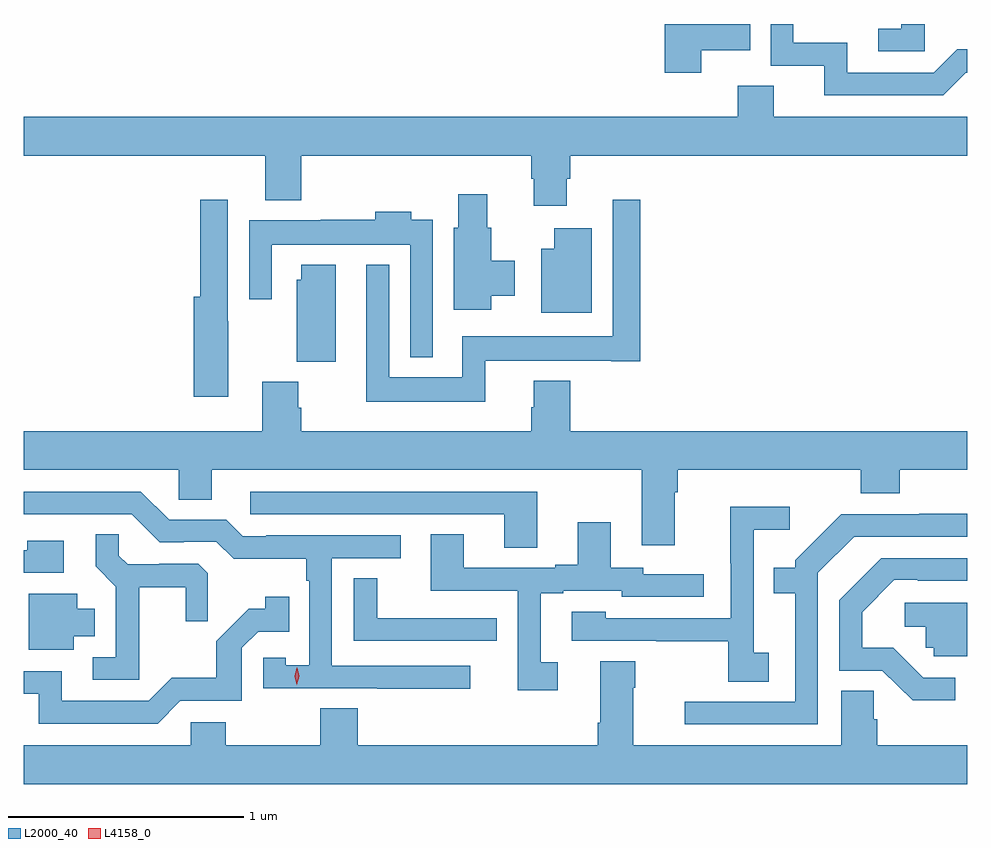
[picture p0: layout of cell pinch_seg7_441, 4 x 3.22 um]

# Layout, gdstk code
import gdstk
lib = gdstk.Library(unit=1e-6, precision=1e-09)
def P(c, l, *ps):  # polygons
    for p in ps: c.add(gdstk.Polygon(p, *l))
L2000_40 = (2000, 40)
L4158_0 = (4158, 0)

pinch_seg7_441 = lib.new_cell('pinch_seg7_441')
P(pinch_seg7_441, L2000_40, [(302.537,1057.118),(302.439,1057.118),(302.439,1057.098),(302.34,1057.098),(302.34,1057.002),(302.537,1057.002)],
  [(302.712,1056.912),(302.718,1056.912),(302.718,1057.011),(302.676,1057.011),(302.577,1056.912),(302.209,1056.912),(302.209,1057.038),(301.98,1057.038),(301.98,1057.118),(301.884,1057.118),(301.884,1056.942),(302.111,1056.942),(302.111,1056.816),(302.616,1056.816)],
  [(301.59,1057.007),(301.799,1057.007),(301.799,1057.118),(301.436,1057.118),(301.436,1056.912),(301.59,1056.912)],
  [(301.021,1056.462),(301.034,1056.462),(301.034,1056.56),(302.718,1056.56),(302.718,1056.724),(301.897,1056.724),(301.897,1056.857),(301.745,1056.857),(301.745,1056.724),(298.718,1056.724),(298.718,1056.56),(299.741,1056.56),(299.741,1056.371),(299.894,1056.371),(299.894,1056.56),(300.869,1056.56),(300.869,1056.462),(300.881,1056.462),(300.881,1056.348),(301.021,1056.348)],
  [(300.7,1055.966),(300.799,1055.966),(300.799,1056.114),(300.7,1056.114),(300.7,1056.255),(300.682,1056.255),(300.682,1056.397),(300.56,1056.397),(300.56,1056.255),(300.542,1056.255),(300.542,1055.907),(300.7,1055.907)],
  [(299.584,1055.858),(299.583,1055.858),(299.583,1056.373),(299.467,1056.373),(299.467,1055.962),(299.438,1055.962),(299.438,1055.538),(299.584,1055.538)],
  [(300.674,1055.69),(301.208,1055.69),(301.208,1055.688),(301.331,1055.688),(301.331,1056.373),(301.215,1056.373),(301.215,1055.794),(300.576,1055.794),(300.576,1055.62),(300.267,1055.62),(300.267,1056.097),(300.17,1056.097),(300.17,1055.516),(300.674,1055.516)],
  [(300.453,1056.289),(300.361,1056.289),(300.361,1056.322),(300.209,1056.322),(300.209,1056.289),(299.977,1056.289),(299.977,1056.286),(299.673,1056.286),(299.673,1055.952),(299.769,1055.952),(299.769,1056.182),(300.357,1056.182),(300.357,1055.705),(300.453,1055.705)],
  [(301.126,1056.253),(300.968,1056.253),(300.968,1056.166),(300.911,1056.166),(300.911,1055.894),(301.126,1055.894)],
  [(300.04,1056.097),(299.894,1056.097),(299.894,1056.033),(299.876,1056.033),(299.876,1055.686),(300.04,1055.686)],
  [(300.881,1055.605),(300.881,1055.493),(300.869,1055.493),(300.869,1055.392),(299.894,1055.392),(299.894,1055.492),(299.881,1055.492),(299.881,1055.601),(299.729,1055.601),(299.729,1055.392),(298.718,1055.392),(298.718,1055.228),(299.376,1055.228),(299.376,1055.101),(299.515,1055.101),(299.515,1055.228),(301.337,1055.228),(301.337,1054.908),(301.477,1054.908),(301.477,1055.132),(301.49,1055.132),(301.49,1055.228),(302.267,1055.228),(302.267,1055.129),(302.432,1055.129),(302.432,1055.228),(302.718,1055.228),(302.718,1055.392),(301.034,1055.392),(301.034,1055.605)],
  [(300.895,1055.136),(299.679,1055.136),(299.679,1055.04),(300.755,1055.04),(300.755,1054.897),(300.895,1054.897)],
  [(300.61,1054.398),(300.024,1054.398),(300.024,1054.854),(300.316,1054.854),(300.316,1054.95),(299.746,1054.95),(299.746,1054.947),(299.646,1054.947),(299.577,1055.016),(299.334,1055.016),(299.214,1055.136),(298.718,1055.136),(298.718,1055.04),(299.175,1055.04),(299.295,1054.92),(299.396,1054.92),(299.396,1054.923),(299.535,1054.923),(299.608,1054.85),(299.916,1054.85),(299.916,1054.757),(299.928,1054.757),(299.928,1054.399),(299.829,1054.399),(299.829,1054.431),(299.733,1054.431),(299.733,1054.302),(300.217,1054.302),(300.217,1054.3),(300.61,1054.3)],
  [(301.876,1054.452),(301.812,1054.452),(301.812,1054.973),(301.966,1054.973),(301.966,1055.071),(301.714,1055.071),(301.714,1054.832),(301.716,1054.832),(301.716,1054.599),(301.185,1054.599),(301.185,1054.627),(301.041,1054.627),(301.041,1054.503),(301.399,1054.503),(301.399,1054.501),(301.704,1054.501),(301.704,1054.33),(301.876,1054.33)],
  [(302.085,1054.791),(302.238,1054.944),(302.718,1054.944),(302.718,1055.042),(302.515,1055.042),(302.515,1055.04),(302.184,1055.04),(301.989,1054.845),(301.989,1054.813),(301.897,1054.813),(301.897,1054.704),(301.988,1054.704),(301.988,1054.245),(301.521,1054.245),(301.521,1054.149),(302.085,1054.149)],
  [(300.982,1054.413),(300.91,1054.413),(300.91,1054.704),(301.006,1054.704),(301.006,1054.716),(301.254,1054.716),(301.254,1054.689),(301.6,1054.689),(301.6,1054.785),(301.344,1054.785),(301.344,1054.812),(301.207,1054.812),(301.207,1055.005),(301.067,1055.005),(301.067,1054.825),(300.971,1054.825),(300.971,1054.812),(300.583,1054.812),(300.583,1054.955),(300.443,1054.955),(300.443,1054.716),(300.813,1054.716),(300.813,1054.293),(300.982,1054.293)],
  [(299.207,1054.73),(299.404,1054.73),(299.404,1054.587),(299.498,1054.587),(299.498,1054.789),(299.457,1054.83),(299.292,1054.83),(299.292,1054.827),(299.158,1054.827),(299.121,1054.864),(299.121,1054.955),(299.023,1054.955),(299.023,1054.819),(299.109,1054.733),(299.109,1054.434),(299.01,1054.434),(299.01,1054.338),(299.207,1054.338)],
  [(298.888,1054.927),(298.732,1054.927),(298.732,1054.887),(298.718,1054.887),(298.718,1054.791),(298.888,1054.791)],
  [(302.668,1054.347),(302.532,1054.347),(302.405,1054.474),(302.272,1054.474),(302.272,1054.624),(302.409,1054.761),(302.509,1054.761),(302.509,1054.758),(302.718,1054.758),(302.718,1054.854),(302.354,1054.854),(302.175,1054.675),(302.175,1054.377),(302.358,1054.377),(302.486,1054.25),(302.668,1054.25)],
  [(300.724,1054.598),(300.611,1054.598),(300.611,1054.599),(300.216,1054.599),(300.216,1054.769),(300.117,1054.769),(300.117,1054.503),(300.724,1054.503)],
  [(298.93,1054.523),(299.02,1054.523),(299.02,1054.639),(298.945,1054.639),(298.945,1054.702),(298.739,1054.702),(298.739,1054.466),(298.93,1054.466)],
  [(299.382,1054.248),(299.643,1054.248),(299.643,1054.473),(299.712,1054.542),(299.843,1054.542),(299.843,1054.69),(299.742,1054.69),(299.742,1054.64),(299.672,1054.64),(299.535,1054.502),(299.535,1054.347),(299.346,1054.347),(299.247,1054.248),(298.879,1054.248),(298.879,1054.374),(298.718,1054.374),(298.718,1054.278),(298.781,1054.278),(298.781,1054.152),(299.286,1054.152)],
  [(302.718,1054.665),(302.454,1054.665),(302.454,1054.562),(302.541,1054.562),(302.541,1054.473),(302.577,1054.473),(302.577,1054.437),(302.718,1054.437)],
  [(302.718,1054.06),(302.336,1054.06),(302.336,1054.17),(302.321,1054.17),(302.321,1054.292),(302.183,1054.292),(302.183,1054.06),(301.303,1054.06),(301.303,1054.304),(301.311,1054.304),(301.311,1054.417),(301.163,1054.417),(301.163,1054.156),(301.151,1054.156),(301.151,1054.06),(300.134,1054.06),(300.134,1054.217),(299.974,1054.217),(299.974,1054.06),(299.574,1054.06),(299.574,1054.158),(299.427,1054.158),(299.427,1054.06),(298.718,1054.06),(298.718,1053.896),(302.718,1053.896)])
P(pinch_seg7_441, L4158_0, [(299.875,1054.317),(299.866,1054.353),(299.876,1054.389),(299.877,1054.389),(299.877,1054.389),(299.886,1054.353),(299.876,1054.317),(299.876,1054.317)])

lib.write_gds('pinch_seg7_441.gds')
